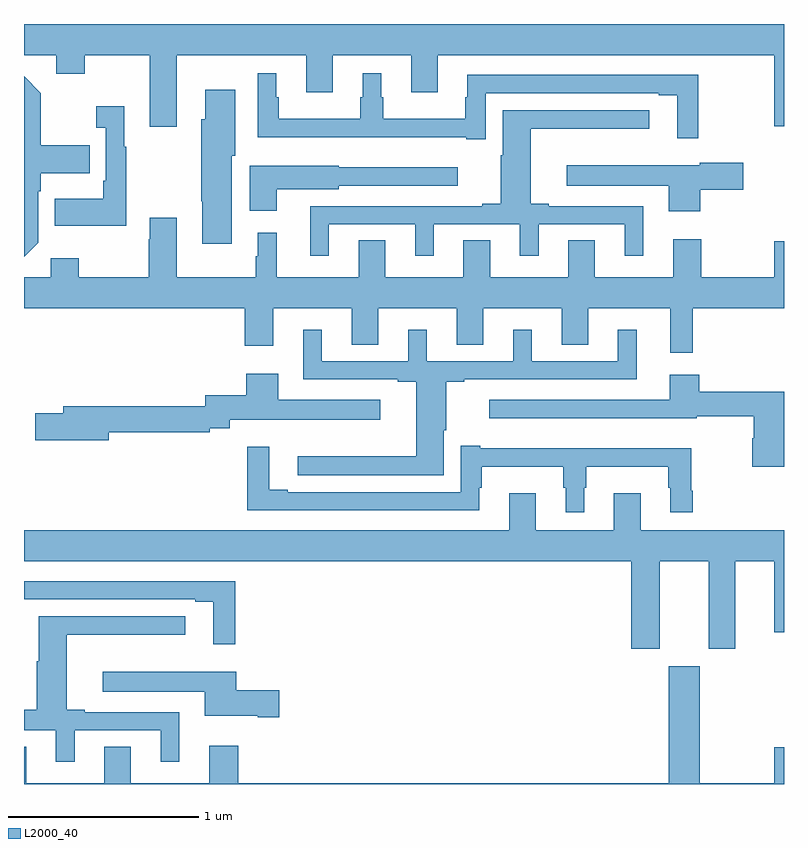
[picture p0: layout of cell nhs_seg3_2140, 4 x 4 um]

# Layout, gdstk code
import gdstk
lib = gdstk.Library(unit=1e-6, precision=1e-09)
def P(c, l, *ps):  # polygons
    for p in ps: c.add(gdstk.Polygon(p, *l))
L2000_40 = (2000, 40)

nhs_seg3_2140 = lib.new_cell('nhs_seg3_2140')
P(nhs_seg3_2140, L2000_40, [(221.803,714.236),(222.485,714.236),(222.485,714.042),(222.625,714.042),(222.625,714.236),(223.037,714.236),(223.037,714.042),(223.177,714.042),(223.177,714.236),(224.948,714.236),(224.948,713.862),(225,713.862),(225,714.4),(221,714.4),(221,714.236),(221.171,714.236),(221.171,714.137),(221.319,714.137),(221.319,714.236),(221.663,714.236),(221.663,713.859),(221.803,713.859)],
  [(223.431,714.036),(224.342,714.036),(224.342,714.024),(224.438,714.024),(224.438,713.799),(224.548,713.799),(224.548,714.132),(223.334,714.132),(223.334,714.014),(223.323,714.014),(223.323,713.902),(222.892,713.902),(222.892,714.014),(222.88,714.014),(222.88,714.142),(222.782,714.142),(222.782,714.014),(222.771,714.014),(222.771,713.902),(222.34,713.902),(222.34,714.014),(222.328,714.014),(222.328,714.142),(222.231,714.142),(222.231,713.804),(223.328,713.804),(223.328,713.793),(223.431,713.793)],
  [(221.076,713.25),(221.076,713.519),(221.089,713.519),(221.089,713.615),(221.345,713.615),(221.345,713.763),(221.089,713.763),(221.089,714.035),(221,714.124),(221,713.174)],
  [(222.094,713.706),(222.112,713.706),(222.112,714.055),(221.954,714.055),(221.954,713.898),(221.932,713.898),(221.932,713.467),(221.939,713.467),(221.939,713.244),(222.094,713.244)],
  [(221.539,713.755),(221.527,713.755),(221.527,713.968),(221.379,713.968),(221.379,713.855),(221.43,713.855),(221.43,713.575),(221.418,713.575),(221.418,713.479),(221.161,713.479),(221.161,713.339),(221.539,713.339)],
  [(222.604,713.346),(223.058,713.346),(223.058,713.181),(223.156,713.181),(223.156,713.346),(223.61,713.346),(223.61,713.181),(223.708,713.181),(223.708,713.346),(224.162,713.346),(224.162,713.181),(224.26,713.181),(224.26,713.442),(223.762,713.442),(223.762,713.455),(223.666,713.455),(223.666,713.849),(224.29,713.849),(224.29,713.946),(223.52,713.946),(223.52,713.709),(223.508,713.709),(223.508,713.455),(223.412,713.455),(223.412,713.442),(222.506,713.442),(222.506,713.181),(222.604,713.181)],
  [(224.56,713.527),(224.785,713.527),(224.785,713.669),(224.556,713.669),(224.556,713.656),(223.857,713.656),(223.857,713.549),(224.393,713.549),(224.393,713.415),(224.56,713.415)],
  [(222.331,713.531),(222.657,713.531),(222.657,713.55),(223.282,713.55),(223.282,713.647),(222.657,713.647),(222.657,713.653),(222.188,713.653),(222.188,713.418),(222.331,713.418)],
  [(222.161,712.707),(222.313,712.707),(222.313,712.904),(222.725,712.904),(222.725,712.711),(222.865,712.711),(222.865,712.904),(223.277,712.904),(223.277,712.711),(223.417,712.711),(223.417,712.904),(223.829,712.904),(223.829,712.711),(223.969,712.711),(223.969,712.904),(224.402,712.904),(224.402,712.671),(224.519,712.671),(224.519,712.904),(225,712.904),(225,713.257),(224.948,713.257),(224.948,713.068),(224.565,713.068),(224.565,713.266),(224.417,713.266),(224.417,713.068),(224.005,713.068),(224.005,713.261),(223.865,713.261),(223.865,713.068),(223.453,713.068),(223.453,713.261),(223.313,713.261),(223.313,713.068),(222.901,713.068),(222.901,713.261),(222.761,713.261),(222.761,713.068),(222.329,713.068),(222.329,713.302),(222.23,713.302),(222.23,713.177),(222.219,713.177),(222.219,713.068),(221.803,713.068),(221.803,713.38),(221.663,713.38),(221.663,713.267),(221.656,713.267),(221.656,713.068),(221.289,713.068),(221.289,713.167),(221.142,713.167),(221.142,713.068),(221,713.068),(221,712.904),(222.161,712.904)],
  [(223.21,712.263),(223.222,712.263),(223.222,712.518),(223.318,712.518),(223.318,712.53),(224.225,712.53),(224.225,712.792),(224.126,712.792),(224.126,712.626),(223.672,712.626),(223.672,712.792),(223.574,712.792),(223.574,712.626),(223.12,712.626),(223.12,712.792),(223.022,712.792),(223.022,712.626),(222.568,712.626),(222.568,712.792),(222.47,712.792),(222.47,712.53),(222.968,712.53),(222.968,712.518),(223.064,712.518),(223.064,712.124),(222.441,712.124),(222.441,712.026),(223.21,712.026)],
  [(221.446,712.252),(221.978,712.252),(221.978,712.272),(222.082,712.272),(222.082,712.316),(222.874,712.316),(222.874,712.423),(222.337,712.423),(222.337,712.558),(222.17,712.558),(222.17,712.446),(221.954,712.446),(221.954,712.388),(221.207,712.388),(221.207,712.352),(221.058,712.352),(221.058,712.21),(221.446,712.21)],
  [(225,712.465),(224.555,712.465),(224.555,712.555),(224.399,712.555),(224.399,712.422),(223.449,712.422),(223.449,712.325),(224.542,712.325),(224.542,712.336),(224.84,712.336),(224.84,712.221),(224.833,712.221),(224.833,712.071),(225,712.071)],
  [(223.948,711.959),(223.96,711.959),(223.96,712.07),(224.391,712.07),(224.391,711.959),(224.402,711.959),(224.402,711.831),(224.519,711.831),(224.519,711.943),(224.512,711.943),(224.512,712.168),(223.402,712.168),(223.402,712.18),(223.299,712.18),(223.299,711.936),(222.388,711.936),(222.388,711.949),(222.292,711.949),(222.292,712.174),(222.175,712.174),(222.175,711.84),(223.396,711.84),(223.396,711.959),(223.408,711.959),(223.408,712.07),(223.839,712.07),(223.839,711.959),(223.85,711.959),(223.85,711.831),(223.948,711.831)],
  [(224.347,711.572),(224.603,711.572),(224.603,711.111),(224.743,711.111),(224.743,711.572),(224.948,711.572),(224.948,711.198),(225,711.198),(225,711.736),(224.245,711.736),(224.245,711.931),(224.105,711.931),(224.105,711.736),(223.693,711.736),(223.693,711.931),(223.553,711.931),(223.553,711.736),(221,711.736),(221,711.572),(224.195,711.572),(224.195,711.111),(224.347,711.111)],
  [(222.113,711.468),(221,711.468),(221,711.372),(221.9,711.372),(221.9,711.36),(221.996,711.36),(221.996,711.135),(222.113,711.135)],
  [(221.266,710.682),(221.72,710.682),(221.72,710.517),(221.818,710.517),(221.818,710.778),(221.32,710.778),(221.32,710.791),(221.224,710.791),(221.224,711.185),(221.848,711.185),(221.848,711.282),(221.078,711.282),(221.078,711.045),(221.066,711.045),(221.066,710.791),(221,710.791),(221,710.682),(221.168,710.682),(221.168,710.517),(221.266,710.517)],
  [(221.563,710.597),(221.423,710.597),(221.423,710.404),(221.011,710.404),(221.011,710.597),(221,710.597),(221,710.4),(225,710.4),(225,710.593),(224.948,710.593),(224.948,710.404),(224.557,710.404),(224.557,711.019),(224.393,711.019),(224.393,710.404),(222.128,710.404),(222.128,710.602),(221.975,710.602),(221.975,710.404),(221.563,710.404)],
  [(222.343,710.894),(222.118,710.894),(222.118,710.992),(221.415,710.992),(221.415,710.885),(221.951,710.885),(221.951,710.759),(222.23,710.759),(222.23,710.752),(222.343,710.752)])

lib.write_gds('nhs_seg3_2140.gds')
